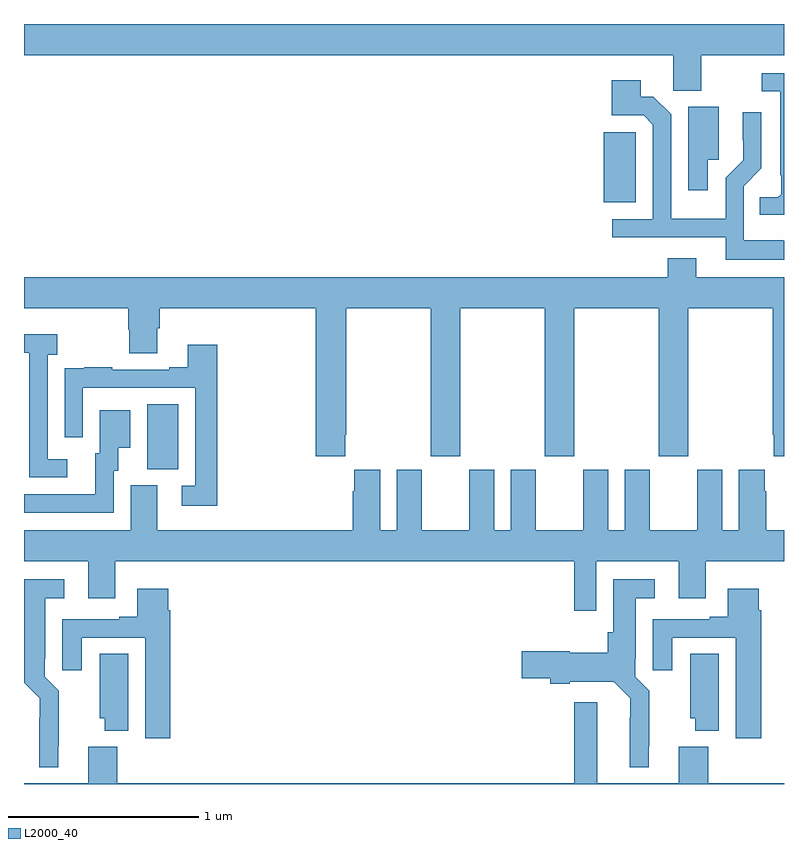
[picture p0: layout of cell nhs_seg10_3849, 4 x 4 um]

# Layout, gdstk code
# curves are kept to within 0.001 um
import gdstk
lib = gdstk.Library(unit=1e-6, precision=1e-09)
def R(c, l, rs):  # rectangles x0, y0, x1, y1
    for r in rs: c.add(gdstk.rectangle(r[:2], r[2:], *l))
def P(c, l, *ps):  # polygons
    for p in ps: c.add(gdstk.Polygon(p, *l))
L2000_40 = (2000, 40)

nhs_seg10_3849 = lib.new_cell('nhs_seg10_3849')
R(nhs_seg10_3849, L2000_40, [(323.648,1278.157,323.812,1278.5), (326.051,1279.562,326.221,1279.929)])
P(nhs_seg10_3849, L2000_40, [(326.565,1280.336),(327,1280.336),(327,1280.5),(323,1280.5),(323,1280.336),(326.418,1280.336),(326.418,1280.149),(326.565,1280.149)],
  [(327,1280.241),(326.883,1280.241),(326.883,1280.145),(326.981,1280.145),(326.981,1279.705),(326.985,1279.705),(326.985,1279.605),(326.967,1279.587),(326.872,1279.587),(326.872,1279.495),(327,1279.495)],
  [(327,1279.359),(326.996,1279.359),(326.996,1279.363),(326.787,1279.363),(326.787,1279.647),(326.88,1279.74),(326.88,1280.035),(326.784,1280.035),(326.784,1279.888),(326.786,1279.888),(326.786,1279.782),(326.694,1279.69),(326.694,1279.474),(326.406,1279.474),(326.406,1280.025),(326.313,1280.118),(326.245,1280.118),(326.245,1280.203),(326.093,1280.203),(326.093,1280.019),(326.262,1280.019),(326.31,1279.971),(326.31,1279.473),(326.097,1279.473),(326.097,1279.377),(326.693,1279.377),(326.693,1279.259),(327,1279.259)],
  [(326.599,1279.785),(326.656,1279.785),(326.656,1280.064),(326.495,1280.064),(326.495,1279.626),(326.599,1279.626)],
  [(324.691,1278.337),(324.696,1278.337),(324.696,1279.004),(325.141,1279.004),(325.141,1278.225),(325.296,1278.225),(325.296,1279.004),(325.741,1279.004),(325.741,1278.225),(325.896,1278.225),(325.896,1279.004),(326.341,1279.004),(326.341,1278.225),(326.496,1278.225),(326.496,1279.004),(326.941,1279.004),(326.941,1278.337),(326.945,1278.337),(326.945,1278.225),(327,1278.225),(327,1279.168),(326.539,1279.168),(326.539,1279.267),(326.387,1279.267),(326.387,1279.168),(323,1279.168),(323,1279.004),(323.549,1279.004),(323.549,1278.891),(323.554,1278.891),(323.554,1278.766),(323.701,1278.766),(323.701,1278.898),(323.714,1278.898),(323.714,1279.004),(324.536,1279.004),(324.536,1278.225),(324.691,1278.225)],
  [(323.227,1278.21),(323.124,1278.21),(323.124,1278.758),(323.176,1278.758),(323.176,1278.868),(323,1278.868),(323,1278.771),(323.027,1278.771),(323.027,1278.571),(323.028,1278.571),(323.028,1278.114),(323.227,1278.114)],
  [(324.017,1278.811),(323.861,1278.811),(323.861,1278.694),(323.765,1278.694),(323.765,1278.681),(323.465,1278.681),(323.465,1278.694),(323.317,1278.694),(323.317,1278.687),(323.215,1278.687),(323.215,1278.578),(323.214,1278.578),(323.214,1278.324),(323.31,1278.324),(323.31,1278.585),(323.901,1278.585),(323.901,1278.069),(323.829,1278.069),(323.829,1277.964),(324.017,1277.964)],
  [(323.472,1278.15),(323.497,1278.15),(323.497,1278.269),(323.56,1278.269),(323.56,1278.466),(323.399,1278.466),(323.399,1278.24),(323.375,1278.24),(323.375,1278.024),(323,1278.024),(323,1277.928),(323.472,1277.928)],
  [(326.013,1277.672),(326.447,1277.672),(326.447,1277.478),(326.587,1277.478),(326.587,1277.672),(327,1277.672),(327,1277.836),(326.906,1277.836),(326.906,1278.041),(326.899,1278.041),(326.899,1278.154),(326.762,1278.154),(326.762,1277.836),(326.674,1277.836),(326.674,1278.154),(326.543,1278.154),(326.543,1277.836),(326.293,1277.836),(326.293,1278.154),(326.162,1278.154),(326.162,1277.836),(326.074,1277.836),(326.074,1278.154),(325.943,1278.154),(325.943,1277.836),(325.693,1277.836),(325.693,1278.154),(325.562,1278.154),(325.562,1277.836),(325.474,1277.836),(325.474,1278.154),(325.343,1278.154),(325.343,1277.836),(325.093,1277.836),(325.093,1278.154),(324.962,1278.154),(324.962,1277.836),(324.874,1277.836),(324.874,1278.154),(324.737,1278.154),(324.737,1278.041),(324.731,1278.041),(324.731,1277.836),(323.701,1277.836),(323.701,1278.072),(323.561,1278.072),(323.561,1277.836),(323,1277.836),(323,1277.672),(323.339,1277.672),(323.339,1277.478),(323.479,1277.478),(323.479,1277.672),(325.897,1277.672),(325.897,1277.412),(326.013,1277.412)],
  [(323.179,1276.699),(323.183,1276.699),(323.183,1276.99),(323.109,1277.064),(323.109,1277.158),(323.113,1277.158),(323.113,1277.477),(323.212,1277.477),(323.212,1277.578),(323,1277.578),(323,1277.034),(323.082,1276.952),(323.081,1276.589),(323.179,1276.589)],
  [(326.287,1276.699),(326.291,1276.699),(326.291,1276.99),(326.217,1277.064),(326.217,1277.158),(326.221,1277.158),(326.221,1277.477),(326.32,1277.477),(326.32,1277.578),(326.102,1277.578),(326.102,1277.298),(326.072,1277.298),(326.072,1277.191),(325.873,1277.191),(325.873,1277.199),(325.62,1277.199),(325.62,1277.057),(325.769,1277.057),(325.769,1277.027),(325.873,1277.027),(325.873,1277.039),(326.103,1277.039),(326.19,1276.952),(326.189,1276.589),(326.287,1276.589)],
  [(323.771,1277.414),(323.758,1277.414),(323.758,1277.527),(323.597,1277.527),(323.597,1277.38),(323.501,1277.38),(323.501,1277.367),(323.201,1277.367),(323.201,1277.1),(323.305,1277.1),(323.305,1277.271),(323.639,1277.271),(323.639,1276.74),(323.771,1276.74)],
  [(326.879,1277.414),(326.866,1277.414),(326.866,1277.527),(326.705,1277.527),(326.705,1277.38),(326.609,1277.38),(326.609,1277.367),(326.309,1277.367),(326.309,1277.1),(326.413,1277.1),(326.413,1277.271),(326.747,1277.271),(326.747,1276.74),(326.879,1276.74)],
  [(323.548,1277.186),(323.399,1277.186),(323.399,1276.845),(323.426,1276.845),(323.426,1276.781),(323.548,1276.781)],
  [(326.656,1277.186),(326.507,1277.186),(326.507,1276.845),(326.534,1276.845),(326.534,1276.781),(326.656,1276.781)],
  [(327,1276.504),(326.6,1276.504),(326.6,1276.696),(326.447,1276.696),(326.447,1276.504),(326.017,1276.504),(326.017,1276.93),(325.895,1276.93),(325.895,1276.504),(323.492,1276.504),(323.492,1276.696),(323.339,1276.696),(323.339,1276.504),(323,1276.504),(323,1276.5),(327,1276.5)])

lib.write_gds('nhs_seg10_3849.gds')
